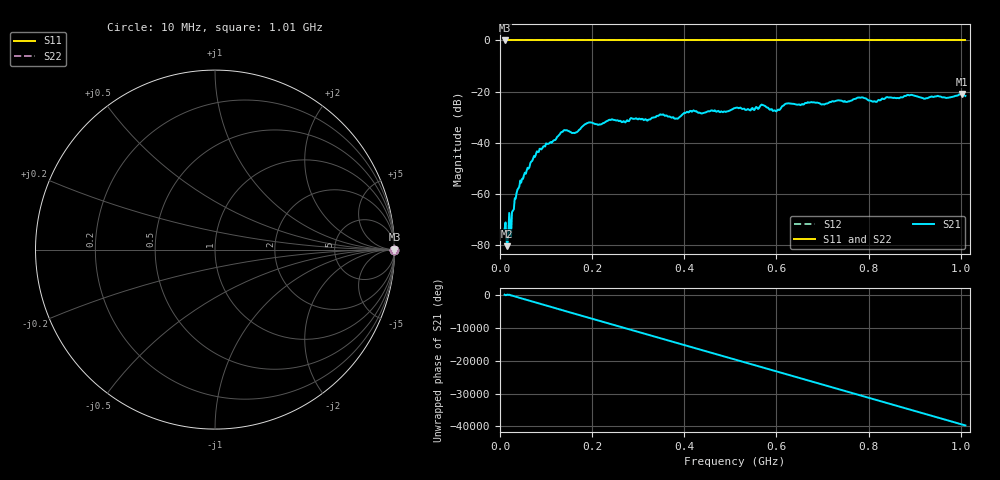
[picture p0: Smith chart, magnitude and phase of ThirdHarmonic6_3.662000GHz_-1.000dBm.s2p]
! 8/17/2025 12:21:25 PM
! C:\ANRITSUVNA\TEMP\TEMP.S2P
! CHANNEL.1
! TR.MEASUREMENT
! RAW.DATA
! RF.CORRECTION.OFF
! AVERAGING.OFF
! IF.BANDWIDTH: 5KHZ
! SWEEPTYPE:  FREQ.SWEEP(Linear)
! Reference Plane Port Info
! PORT:  PORT1  PORT2
! DISTANCE:  0  m  0  m
! TIME:  0  s  0  s
! PHASE.OFFSET:  0  deg.  0  deg.
! LOSS:  0  dB  0  dB
! REF.LOSS:  0  dB  0  dB
! REF.FREQ:  0  Hz  0  Hz
! Power Info
! POWER:  -20  dBm  -20  dBm
! EFF.POWER:  -20  dBm  -20  dBm
! SOURCE.ATTEN:  0  dB  0  dB
! TEST.ATTEN:  0  dB  0  dB
# GHZ S RI R 50.0
! FREQ.GHZ  S11RE  S11IM  S21RE  S21IM  S12RE  S12IM  S22RE  S22IM
!; PortSelection: Port_12
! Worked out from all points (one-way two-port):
!   501 points, 10 MHz to 1.01 GHz, reference 50 ohm
!   highest |S21| = -20.96 dB at 1.002 GHz (marker M1); lowest = -80.4 dB at 16 MHz (marker M2)
!   lowest |S11| = 0.0 dB at 10 MHz (marker M3)
!   |S11| at or under -10 dB: nowhere
!   |S22| runs from 0.0 to 0.0 dB; largest |S21 - S12| = 1.1
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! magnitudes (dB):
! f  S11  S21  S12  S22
! 10 MHz  0.0  -73.9  0.0  0.0
! 14 MHz  0.0  -78.0  0.0  0.0
! 16 MHz  0.0  -80.4  0.0  0.0
! 20 MHz  0.0  -67.5  0.0  0.0
! 40 MHz  0.0  -57.8  0.0  0.0
! 78 MHz  0.0  -44.4  0.0  0.0
! 136 MHz  0.0  -35.7  0.0  0.0
! 162 MHz  0.0  -36.2  0.0  0.0
! 178 MHz  0.0  -33.8  0.0  0.0
! 344 MHz  0.0  -29.5  0.0  0.0
! 382 MHz  0.0  -30.5  0.0  0.0
! 416 MHz  0.0  -27.9  0.0  0.0
! 510 MHz  0.0  -26.4  0.0  0.0
! 570 MHz  0.0  -25.2  0.0  0.0
! 596 MHz  0.0  -27.3  0.0  0.0
! 622 MHz  0.0  -24.7  0.0  0.0
! 678 MHz  0.0  -24.2  0.0  0.0
! 782 MHz  0.0  -22.4  0.0  0.0
! 814 MHz  0.0  -23.8  0.0  0.0
! 844 MHz  0.0  -22.3  0.0  0.0
! 1.002 GHz  0.0  -21.0  0.0  0.0
! 1.01 GHz  0.0  -21.7  0.0  0.0
